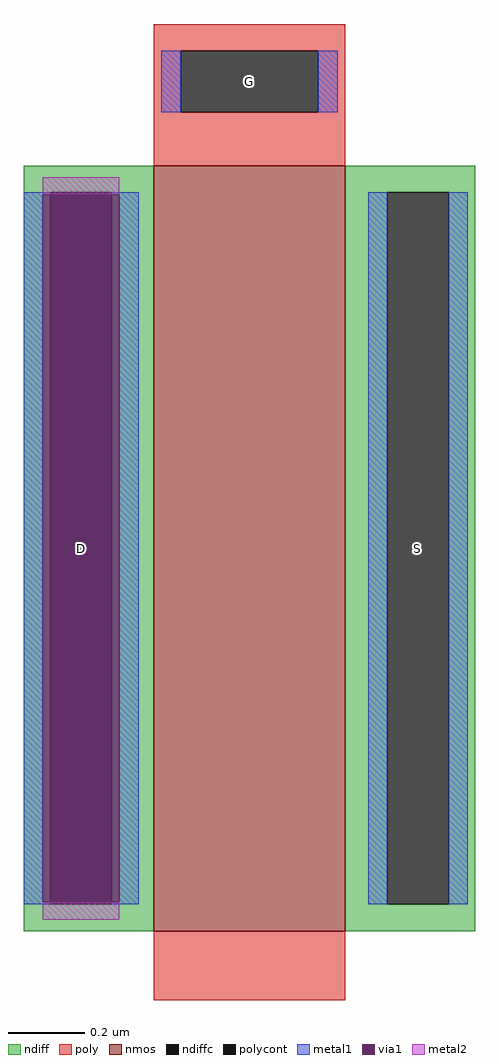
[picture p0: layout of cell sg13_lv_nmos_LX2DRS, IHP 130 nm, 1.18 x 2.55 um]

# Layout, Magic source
magic
tech ihp-sg13g2
magscale 1 2
<< nmos >>
rect -50 -219 50 181
<< ndiff >>
rect -118 167 -50 181
rect -118 -205 -104 167
rect -72 -205 -50 167
rect -118 -219 -50 -205
rect 50 167 118 181
rect 50 -205 72 167
rect 104 -205 118 167
rect 50 -219 118 -205
<< ndiffc >>
rect -104 -205 -72 167
rect 72 -205 104 167
<< poly >>
rect -50 241 50 255
rect -50 209 -36 241
rect 36 209 50 241
rect -50 181 50 209
rect -50 -255 50 -219
<< polycont >>
rect -36 209 36 241
<< metal1 >>
rect -46 209 -36 241
rect 36 209 46 241
rect -118 166 -104 167
rect -72 166 -58 167
rect -118 -204 -108 166
rect -68 -204 -58 166
rect -118 -205 -104 -204
rect -72 -205 -58 -204
rect 62 -205 72 167
rect 104 -205 114 167
<< via1 >>
rect -108 -204 -104 166
rect -104 -204 -72 166
rect -72 -204 -68 166
<< metal2 >>
rect -108 166 -68 175
rect -108 -213 -68 -204
<< labels >>
rlabel ndiffc -88 -19 -88 -19 0 D
port 1 nsew
rlabel ndiffc 88 -19 88 -19 0 S
port 2 nsew
rlabel polycont 0 225 0 225 0 G
port 3 nsew
<< properties >>
string gencell sg13_lv_nmos
string library sg13g2
string parameters w 2 l .5 m 1 nf 1 diffcov 100 polycov 100 guard 0 glc 1 grc 1 gtc 1 gbc 1 tbcov 100 rlcov 100 topc 1 botc 0 poverlap 0 doverlap 1 lmin 0.13 wmin 0.15 class mosfet compatible {sg13_lv_nmos sg13_hv_nmos} full_metal 1 conn_gates 0 gate_ring 0 doports 1 viasrc 0 viadrn 100 viagate 0 ccols 1 viagb 0 viagr 0 viagl 0 viagt 0
<< end >>
